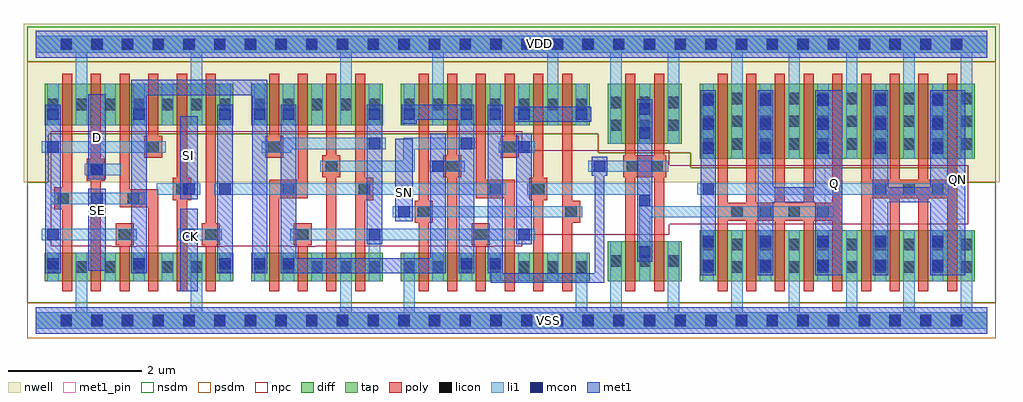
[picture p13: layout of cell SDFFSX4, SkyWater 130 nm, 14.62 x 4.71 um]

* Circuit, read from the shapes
.subckt SDFFSX4 CK D Q QN SE SI SN VDD VSS
XM1 VSS SE n1 VSS sky130_fd_pr__nfet_01v8 w=0.425 l=0.15
XM2 n2 D VSS VSS sky130_fd_pr__nfet_01v8 w=0.425 l=0.15
XM3 n3 n1 n2 VSS sky130_fd_pr__nfet_01v8 w=0.425 l=0.15
XM4 n4 SE n3 VSS sky130_fd_pr__nfet_01v8 w=0.425 l=0.15
XM5 VSS SI n4 VSS sky130_fd_pr__nfet_01v8 w=0.425 l=0.15
XM6 n5 CK VSS VSS sky130_fd_pr__nfet_01v8 w=0.425 l=0.15
XM7 n6 n5 n3 VSS sky130_fd_pr__nfet_01v8 w=0.425 l=0.15
XM8 n7 n8 n6 VSS sky130_fd_pr__nfet_01v8 w=0.425 l=0.15
XM9 VSS n9 n7 VSS sky130_fd_pr__nfet_01v8 w=0.425 l=0.15
XM10 n8 n5 VSS VSS sky130_fd_pr__nfet_01v8 w=0.425 l=0.15
XM11 n10 SN VSS VSS sky130_fd_pr__nfet_01v8 w=0.425 l=0.15
XM12 n9 n6 n10 VSS sky130_fd_pr__nfet_01v8 w=0.425 l=0.15
XM13 n11 n8 n9 VSS sky130_fd_pr__nfet_01v8 w=0.425 l=0.15
XM14 n12 n5 n11 VSS sky130_fd_pr__nfet_01v8 w=0.425 l=0.15
XM15 n13 n14 n12 VSS sky130_fd_pr__nfet_01v8 w=0.425 l=0.15
XM16 VSS SN n13 VSS sky130_fd_pr__nfet_01v8 w=0.425 l=0.15
XM17 n14 n11 VSS VSS sky130_fd_pr__nfet_01v8 w=0.6 l=0.15 m=2
XM18 VSS n14 n15 VSS sky130_fd_pr__nfet_01v8 w=0.76 l=0.15
XM19 Q n14 VSS VSS sky130_fd_pr__nfet_01v8 w=0.76 l=0.15 m=4
XM20 QN n15 VSS VSS sky130_fd_pr__nfet_01v8 w=0.76 l=0.15 m=4
XM21 VDD SE n1 VDD sky130_fd_pr__pfet_01v8 w=0.625 l=0.15
XM22 n16 D VDD VDD sky130_fd_pr__pfet_01v8 w=0.625 l=0.15
XM23 n3 SE n16 VDD sky130_fd_pr__pfet_01v8 w=0.625 l=0.15
XM24 n17 n1 n3 VDD sky130_fd_pr__pfet_01v8 w=0.625 l=0.15
XM25 VDD SI n17 VDD sky130_fd_pr__pfet_01v8 w=0.625 l=0.15
XM26 n5 CK VDD VDD sky130_fd_pr__pfet_01v8 w=0.625 l=0.15
XM27 n6 n8 n3 VDD sky130_fd_pr__pfet_01v8 w=0.625 l=0.15
XM28 n18 n5 n6 VDD sky130_fd_pr__pfet_01v8 w=0.625 l=0.15
XM29 VDD n9 n18 VDD sky130_fd_pr__pfet_01v8 w=0.625 l=0.15
XM30 n8 n5 VDD VDD sky130_fd_pr__pfet_01v8 w=0.625 l=0.15
XM31 VDD SN n9 VDD sky130_fd_pr__pfet_01v8 w=0.625 l=0.15
XM32 n9 n6 VDD VDD sky130_fd_pr__pfet_01v8 w=0.625 l=0.15
XM33 n11 n5 n9 VDD sky130_fd_pr__pfet_01v8 w=0.625 l=0.15
XM34 n19 n8 n11 VDD sky130_fd_pr__pfet_01v8 w=0.625 l=0.15
XM35 VDD n14 n19 VDD sky130_fd_pr__pfet_01v8 w=0.625 l=0.15
XM36 n19 SN VDD VDD sky130_fd_pr__pfet_01v8 w=0.625 l=0.15
XM37 n14 n11 VDD VDD sky130_fd_pr__pfet_01v8 w=0.905 l=0.15 m=2
XM38 VDD n14 n15 VDD sky130_fd_pr__pfet_01v8 w=1.13 l=0.15
XM39 Q n14 VDD VDD sky130_fd_pr__pfet_01v8 w=1.13 l=0.15 m=4
XM40 QN n15 VDD VDD sky130_fd_pr__pfet_01v8 w=1.13 l=0.15 m=4
.ends

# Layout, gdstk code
from math import pi, radians
import gdstk
lib = gdstk.Library(unit=1e-6, precision=1e-09)
def R(c, l, rs):  # rectangles x0, y0, x1, y1
    for r in rs: c.add(gdstk.rectangle(r[:2], r[2:], *l))
def A(c, l, x, y, w, h, nx, ny, dx, dy):  # array of equal rectangles
    R(c, l, [(x+i*dx, y+j*dy, x+i*dx+w, y+j*dy+h) for i in range(nx) for j in range(ny)])
def P(c, l, *ps):  # polygons
    for p in ps: c.add(gdstk.Polygon(p, *l))
nwell = (64, 20)
diff = (65, 20)
tap = (65, 44)
poly = (66, 20)
licon = (66, 44)
li1 = (67, 20)
mcon = (67, 44)
met1_pin = (68, 16)
met1 = (68, 20)
nsdm = (93, 44)
psdm = (94, 20)
npc = (95, 20)

pyl1con_c_cdns_758728262 = lib.new_cell('PYL1CON_C_CDNS_758728262102')
R(pyl1con_c_cdns_758728262, poly, [(-0.135,-0.165,0.135,0.165)])
R(pyl1con_c_cdns_758728262, licon, [(-0.085,-0.085,0.085,0.085)])
R(pyl1con_c_cdns_758728262, npc, [(-0.185,-0.185,0.185,0.185)])

l1m1_c_cdns_758728262101 = lib.new_cell('L1M1_C_CDNS_7587282621012')
R(l1m1_c_cdns_758728262101, li1, [(-0.085,-0.525,0.085,0.525)])
A(l1m1_c_cdns_758728262101, mcon, -0.085, -0.445, 0.17, 0.17, 1, 3, 0, 0.36)
R(l1m1_c_cdns_758728262101, met1, [(-0.115,-0.505,0.115,0.505)])

c_l1m1_c_cdns_758728262101 = lib.new_cell('L1M1_C_CDNS_758728262101')
R(c_l1m1_c_cdns_758728262101, li1, [(-0.085,-0.165,0.085,0.165)])
R(c_l1m1_c_cdns_758728262101, mcon, [(-0.085,-0.085,0.085,0.085)])
R(c_l1m1_c_cdns_758728262101, met1, [(-0.115,-0.145,0.115,0.145)])

l1m1_c_cdns_758728262104 = lib.new_cell('L1M1_C_CDNS_758728262104')
R(l1m1_c_cdns_758728262104, li1, [(-0.085,-0.345,0.085,0.345)])
R(l1m1_c_cdns_758728262104, mcon, [(-0.085,-0.265,0.085,-0.095), (-0.085,0.095,0.085,0.265)])
R(l1m1_c_cdns_758728262104, met1, [(-0.115,-0.325,0.115,0.325)])

l1m1_c_cdns_758728262100 = lib.new_cell('L1M1_C_CDNS_758728262100')
R(l1m1_c_cdns_758728262100, li1, [(-0.165,-0.085,0.165,0.085)])
R(l1m1_c_cdns_758728262100, mcon, [(-0.085,-0.085,0.085,0.085)])
R(l1m1_c_cdns_758728262100, met1, [(-0.115,-0.145,0.115,0.145)])

l1m1_c_cdns_758728262102 = lib.new_cell('L1M1_C_CDNS_7587282621021')
R(l1m1_c_cdns_758728262102, li1, [(-0.085,-0.165,0.085,0.165)])
R(l1m1_c_cdns_758728262102, mcon, [(-0.085,-0.085,0.085,0.085)])
R(l1m1_c_cdns_758728262102, met1, [(-0.145,-0.085,0.145,0.085)])

l1m1_c_cdns_758728262106 = lib.new_cell('L1M1_C_CDNS_758728262106')
R(l1m1_c_cdns_758728262106, li1, [(-0.085,-0.085,0.085,0.085)])
R(l1m1_c_cdns_758728262106, mcon, [(-0.085,-0.085,0.085,0.085)])
R(l1m1_c_cdns_758728262106, met1, [(-0.115,-0.145,0.115,0.145)])

licondiff_c_cdns_7587282 = lib.new_cell('LICONDIFF_C_CDNS_7587282621010')
R(licondiff_c_cdns_7587282, diff, [(-0.125,-0.145,0.125,0.145)])
R(licondiff_c_cdns_7587282, licon, [(-0.085,-0.085,0.085,0.085), (-0.085,-0.085,0.085,0.085)])

c_pyl1con_c_cdns_758728262 = lib.new_cell('PYL1CON_C_CDNS_7587282621017')
R(c_pyl1con_c_cdns_758728262, poly, [(-0.135,-0.29,0.135,0.29)])
R(c_pyl1con_c_cdns_758728262, licon, [(-0.085,-0.085,0.085,0.085)])
R(c_pyl1con_c_cdns_758728262, npc, [(-0.185,-0.185,0.185,0.185)])

c_l1m1_c_cdns_758728262101_ = lib.new_cell('L1M1_C_CDNS_7587282621019')
R(c_l1m1_c_cdns_758728262101_, li1, [(-0.125,-0.085,0.125,0.085)])
R(c_l1m1_c_cdns_758728262101_, mcon, [(-0.085,-0.085,0.085,0.085)])
R(c_l1m1_c_cdns_758728262101_, met1, [(-0.115,-0.145,0.115,0.145)])

c_pyl1con_c_cdns_758728262_ = lib.new_cell('PYL1CON_C_CDNS_7587282621020')
R(c_pyl1con_c_cdns_758728262_, poly, [(-0.135,-0.37,0.135,0.21)])
R(c_pyl1con_c_cdns_758728262_, licon, [(-0.085,-0.085,0.085,0.085)])
R(c_pyl1con_c_cdns_758728262_, npc, [(-0.185,-0.185,0.185,0.185)])

sdffsx4 = lib.new_cell('SDFFSX4')
R(sdffsx4, nwell, [(-0.18,2.07,14.445,4.445)])
R(sdffsx4, diff, [(0.135,0.59,2.965,1.015), (3.235,0.59,5.205,1.015), (5.475,0.59,8.305,1.015), (8.575,0.59,9.685,1.19), (9.955,0.59,14.075,1.35), (9.955,2.42,14.075,3.55), (8.575,2.645,9.685,3.55), (0.135,2.925,2.965,3.55), (3.235,2.925,5.205,3.55), (5.475,2.925,8.305,3.55)])
A(sdffsx4, poly, 1.26, 0.44, 0.15, 0.725, 3, 1, 2.67, 0)
A(sdffsx4, poly, 10.22, 0.44, 0.15, 3.26, 9, 1, 0.43, 0)
R(sdffsx4, poly, [(0.4,0.44,0.55,3.7), (0.83,0.44,0.98,3.7), (2.12,0.44,2.27,3.7), (2.55,0.44,2.7,3.7), (4.36,0.44,4.51,3.7), (4.79,0.44,4.94,3.7), (5.74,0.44,5.89,3.7), (6.17,0.44,6.32,3.7), (7.46,0.44,7.61,3.7), (7.89,0.44,8.04,3.7), (1.69,2.725,1.84,3.7), (3.5,2.725,3.65,3.7), (7.03,2.725,7.18,3.7)])
P(sdffsx4, poly, [(1.84,1.91),(1.41,1.91),(1.41,3.7),(1.26,3.7),(1.26,1.76),(1.69,1.76),(1.69,0.44),(1.84,0.44)],
  [(4.08,3.7),(3.93,3.7),(3.93,2.045),(3.5,2.045),(3.5,0.44),(3.65,0.44),(3.65,1.895),(4.08,1.895)],
  [(7.18,2.045),(6.75,2.045),(6.75,3.7),(6.6,3.7),(6.6,1.895),(7.03,1.895),(7.03,0.44),(7.18,0.44)],
  [(9.45,2.475),(9.42,2.475),(9.42,3.7),(9.27,3.7),(9.27,2.475),(8.99,2.475),(8.99,3.7),(8.84,3.7),(8.84,2.475),(8.81,2.475),(8.81,2.145),(8.84,2.145),(8.84,0.44),(8.99,0.44),(8.99,2.145),(9.27,2.145),(9.27,0.44),(9.42,0.44),(9.42,2.145),(9.45,2.145)])
A(sdffsx4, licon, 0.375, -0.085, 0.17, 0.17, 30, 2, 0.46, 4.14)
A(sdffsx4, licon, 0.605, 0.715, 0.17, 0.17, 3, 2, 0.86, 2.435)
A(sdffsx4, licon, 9.995, 0.715, 0.17, 0.17, 10, 2, 0.43, 0.34)
A(sdffsx4, licon, 8.615, 0.805, 0.17, 0.17, 3, 2, 0.43, 2.035)
A(sdffsx4, licon, 9.995, 2.56, 0.17, 0.17, 10, 3, 0.43, 0.34)
A(sdffsx4, licon, 5.515, 3.15, 0.17, 0.17, 7, 1, 0.43, 0)
A(sdffsx4, licon, 8.615, 3.18, 0.17, 0.17, 3, 1, 0.43, 0)
R(sdffsx4, licon, [(0.175,0.715,0.345,0.885), (2.755,0.715,2.925,0.885), (3.275,0.715,3.445,0.885), (3.705,0.715,3.875,0.885), (4.565,0.715,4.735,0.885), (4.995,0.715,5.165,0.885), (5.515,0.715,5.685,0.885), (6.375,0.715,6.545,0.885), (6.805,0.715,6.975,0.885), (8.095,0.715,8.265,0.885), (0.175,3.15,0.345,3.32), (2.755,3.15,2.925,3.32), (3.275,3.15,3.445,3.32), (3.705,3.15,3.875,3.32), (4.565,3.15,4.735,3.32), (4.995,3.15,5.165,3.32)])
A(sdffsx4, li1, 0.175, 0.59, 0.17, 0.425, 3, 1, 1.29, 0)
A(sdffsx4, li1, 9.995, 0.59, 0.17, 0.76, 5, 1, 0.86, 0)
A(sdffsx4, li1, 9.995, 2.42, 0.17, 1.13, 5, 1, 0.86, 0)
A(sdffsx4, li1, 0.175, 2.925, 0.17, 0.625, 3, 1, 1.29, 0)
A(sdffsx4, li1, 6.375, 2.925, 0.17, 0.625, 3, 1, 0.43, 0)
R(sdffsx4, li1, [(3.275,0.59,3.445,1.015), (3.705,0.59,3.875,1.015), (6.375,0.59,6.545,1.015), (6.805,0.59,6.975,1.015), (9.045,2.645,9.215,3.55), (3.275,2.925,3.445,3.55), (3.705,2.925,3.875,3.55), (4.995,2.925,5.165,3.55), (5.515,2.925,5.685,3.55), (8.095,2.925,8.265,3.55)])
P(sdffsx4, li1, [(5.08,2.735),(3.66,2.735),(3.66,2.685),(3.39,2.685),(3.39,2.515),(3.835,2.515),(3.835,2.565),(5.08,2.565)],
  [(7.485,1.375),(3.82,1.375),(3.82,1.205),(4.995,1.205),(4.995,0.59),(5.165,0.59),(5.165,1.205),(7.485,1.205)],
  [(11.965,1.715),(9.215,1.715),(9.215,2.055),(7.37,2.055),(7.37,1.885),(9.045,1.885),(9.045,0.59),(9.215,0.59),(9.215,1.545),(11.965,1.545)],
  [(14.265,4.265),(0,4.265),(0,4.015),(0.605,4.015),(0.605,2.925),(0.775,2.925),(0.775,4.015),(2.325,4.015),(2.325,2.925),(2.495,2.925),(2.495,4.015),(4.565,4.015),(4.565,2.925),(4.735,2.925),(4.735,4.015),(5.945,4.015),(5.945,2.925),(6.115,2.925),(6.115,4.015),(7.665,4.015),(7.665,2.925),(7.835,2.925),(7.835,4.015),(8.615,4.015),(8.615,2.645),(8.785,2.645),(8.785,4.015),(9.475,4.015),(9.475,2.645),(9.645,2.645),(9.645,4.015),(10.425,4.015),(10.425,2.42),(10.595,2.42),(10.595,4.015),(11.285,4.015),(11.285,2.42),(11.455,2.42),(11.455,4.015),(12.145,4.015),(12.145,2.42),(12.315,2.42),(12.315,4.015),(13.005,4.015),(13.005,2.42),(13.175,2.42),(13.175,4.015),(13.865,4.015),(13.865,2.42),(14.035,2.42),(14.035,4.015),(14.265,4.015)],
  [(14.265,0.125),(14.035,0.125),(14.035,1.35),(13.865,1.35),(13.865,0.125),(13.175,0.125),(13.175,1.35),(13.005,1.35),(13.005,0.125),(12.315,0.125),(12.315,1.35),(12.145,1.35),(12.145,0.125),(11.455,0.125),(11.455,1.35),(11.285,1.35),(11.285,0.125),(10.595,0.125),(10.595,1.35),(10.425,1.35),(10.425,0.125),(9.645,0.125),(9.645,1.19),(9.475,1.19),(9.475,0.125),(8.785,0.125),(8.785,1.19),(8.615,1.19),(8.615,0.125),(8.265,0.125),(8.265,1.015),(8.095,1.015),(8.095,0.125),(5.685,0.125),(5.685,1.015),(5.515,1.015),(5.515,0.125),(4.735,0.125),(4.735,1.015),(4.565,1.015),(4.565,0.125),(2.495,0.125),(2.495,1.015),(2.325,1.015),(2.325,0.125),(0.775,0.125),(0.775,1.015),(0.605,1.015),(0.605,0.125),(0,0.125),(0,-0.125),(14.265,-0.125)])
A(sdffsx4, mcon, 0.375, -0.085, 0.17, 0.17, 30, 2, 0.46, 4.14)
R(sdffsx4, met1_pin, [(2.17,0.435,2.43,1.675), (0.79,0.745,1.05,1.975), (11.83,1.465,12.09,2.705), (5.39,1.485,5.65,2.725), (13.67,1.515,13.93,2.755), (2.17,1.82,2.43,3.06), (0.79,2.15,1.05,3.39)])
P(sdffsx4, met1, [(8.52,2.31),(8.38,2.31),(8.38,0.705),(7.005,0.705),(7.005,3.235),(6.775,3.235),(6.775,0.705),(6.82,0.705),(6.82,0.565),(8.52,0.565)],
  [(12.09,3.45),(11.685,3.45),(11.685,2),(11.055,2),(11.055,3.45),(10.825,3.45),(10.825,0.68),(11.055,0.68),(11.055,1.77),(11.685,1.77),(11.685,0.68),(12.09,0.68)],
  [(13.93,3.45),(13.405,3.45),(13.405,2),(12.775,2),(12.775,3.45),(12.545,3.45),(12.545,0.68),(12.775,0.68),(12.775,1.77),(13.405,1.77),(13.405,0.675),(13.93,0.675)])
R(sdffsx4, nsdm, [(-0.125,3.875,14.39,4.405)])
P(sdffsx4, nsdm, [(14.39,2.07),(13.78,2.07),(13.78,2.29),(9.815,2.29),(9.815,2.515),(8.435,2.515),(8.435,2.795),(0.19,2.795),(0.19,2.07),(-0.125,2.07),(-0.125,0.265),(14.39,0.265)])
R(sdffsx4, psdm, [(-0.125,-0.265,14.39,0.265)])
P(sdffsx4, psdm, [(14.39,3.875),(-0.125,3.875),(-0.125,2.07),(0.19,2.07),(0.19,2.795),(8.435,2.795),(8.435,2.515),(9.815,2.515),(9.815,2.29),(13.78,2.29),(13.78,2.07),(14.39,2.07)])
P(sdffsx4, npc, [(13.98,2.325),(9.5,2.325),(9.5,2.55),(7.29,2.55),(7.29,2.835),(0.23,2.835),(0.23,1.11),(7.29,1.11),(7.29,1.285),(9.5,1.285),(9.5,1.445),(13.98,1.445)])
sdffsx4.add(gdstk.FlexPath([(5.905,2.31),(6.43,2.31)], 0.17, ends="flush", simple_path=True, layer=67, datatype=20))  # li1
sdffsx4.add(gdstk.FlexPath([(6.94,2.6),(7.485,2.6)], 0.17, ends="flush", simple_path=True, layer=67, datatype=20))  # li1
sdffsx4.add(gdstk.FlexPath([(0.095,1.29),(1.52,1.29)], 0.17, ends="flush", simple_path=True, layer=67, datatype=20))  # li1
sdffsx4.add(gdstk.FlexPath([(4.22,2.925),(4.22,3.55)], 0.17, ends="flush", simple_path=True, layer=67, datatype=20))  # li1
sdffsx4.add(gdstk.FlexPath([(4.22,0.59),(4.22,1.015)], 0.17, ends="flush", simple_path=True, layer=67, datatype=20))  # li1
sdffsx4.add(gdstk.FlexPath([(7.75,0.59),(7.75,1.015)], 0.17, ends="flush", simple_path=True, layer=67, datatype=20))  # li1
sdffsx4.add(gdstk.FlexPath([(7.32,0.59),(7.32,1.015)], 0.17, ends="flush", simple_path=True, layer=67, datatype=20))  # li1
sdffsx4.add(gdstk.FlexPath([(2.36,1.97),(1.815,1.97)], 0.17, ends="flush", simple_path=True, layer=67, datatype=20))  # li1
sdffsx4.add(gdstk.FlexPath([(4.27,2.31),(5.595,2.31),(5.595,2.65),(6.46,2.65)], 0.17, ends="flush", simple_path=True, layer=67, datatype=20))  # li1
sdffsx4.add(gdstk.FlexPath([(2.79,1.29),(2.245,1.29)], 0.17, ends="flush", simple_path=True, layer=67, datatype=20))  # li1
sdffsx4.add(gdstk.FlexPath([(2.675,1.97),(7.055,1.97)], 0.17, ends="flush", simple_path=True, layer=67, datatype=20))  # li1
sdffsx4.add(gdstk.FlexPath([(6.03,0.59),(6.03,1.015)], 0.17, ends="flush", simple_path=True, layer=67, datatype=20))  # li1
sdffsx4.add(gdstk.FlexPath([(8.285,2.31),(9.48,2.31)], 0.17, ends="flush", simple_path=True, layer=67, datatype=20))  # li1
sdffsx4.add(gdstk.FlexPath([(0.095,2.6),(1.95,2.6)], 0.17, ends="flush", simple_path=True, layer=67, datatype=20))  # li1
sdffsx4.add(gdstk.FlexPath([(1.12,2.925),(1.12,3.55)], 0.17, ends="flush", simple_path=True, layer=67, datatype=20))  # li1
sdffsx4.add(gdstk.FlexPath([(1.98,2.925),(1.98,3.55)], 0.17, ends="flush", simple_path=True, layer=67, datatype=20))  # li1
sdffsx4.add(gdstk.FlexPath([(5.435,1.63),(8.19,1.63)], 0.17, ends="flush", simple_path=True, layer=67, datatype=20))  # li1
sdffsx4.add(gdstk.FlexPath([(0.23,1.83),(1.635,1.83)], 0.17, ends="flush", simple_path=True, layer=67, datatype=20))  # li1
sdffsx4.add(gdstk.FlexPath([(10.08,1.97),(13.685,1.97)], 0.17, ends="flush", simple_path=True, layer=67, datatype=20))  # li1
sdffsx4.add(gdstk.FlexPath([(1.12,0.59),(1.12,1.015)], 0.17, ends="flush", simple_path=True, layer=67, datatype=20))  # li1
sdffsx4.add(gdstk.FlexPath([(1.98,0.59),(1.98,1.015)], 0.17, ends="flush", simple_path=True, layer=67, datatype=20))  # li1
sdffsx4.add(gdstk.FlexPath([(1.285,2.26),(0.74,2.26)], 0.17, ends="flush", simple_path=True, layer=67, datatype=20))  # li1
sdffsx4.add(gdstk.FlexPath([(7.32,1.145),(7.32,2.795)], 0.23, ends="flush", simple_path=True, layer=68, datatype=20))  # met1
sdffsx4.add(gdstk.FlexPath([(3.79,3.235),(3.79,0.82),(6.03,0.82),(6.03,2.795)], 0.23, ends="flush", simple_path=True, layer=68, datatype=20))  # met1
sdffsx4.add(gdstk.FlexPath([(1.55,0.705),(1.55,3.49),(3.36,3.49),(3.36,0.705)], 0.23, ends="flush", simple_path=True, layer=68, datatype=20))  # met1
sdffsx4.add(gdstk.FlexPath([(0.26,0.705),(0.26,3.235)], 0.23, ends="flush", simple_path=True, layer=68, datatype=20))  # met1
sdffsx4.add(gdstk.FlexPath([(5.08,1.145),(5.08,3.235)], 0.23, ends="flush", simple_path=True, layer=68, datatype=20))  # met1
sdffsx4.add(gdstk.FlexPath([(2.84,0.705),(2.84,3.235)], 0.23, ends="flush", simple_path=True, layer=68, datatype=20))  # met1
sdffsx4.add(gdstk.FlexPath([(5.52,1.485),(5.52,2.725)], 0.26, ends="flush", simple_path=True, layer=68, datatype=20))  # met1
sdffsx4.add(gdstk.FlexPath([(0,0),(14.265,0)], 0.4, ends="flush", simple_path=True, layer=68, datatype=20))  # met1
sdffsx4.add(gdstk.FlexPath([(2.3,0.435),(2.3,1.675)], 0.26, ends="flush", simple_path=True, layer=68, datatype=20))  # met1
sdffsx4.add(gdstk.FlexPath([(2.3,1.82),(2.3,3.06)], 0.26, ends="flush", simple_path=True, layer=68, datatype=20))  # met1
sdffsx4.add(gdstk.FlexPath([(0.92,2.115),(0.92,3.39)], 0.26, ends="flush", simple_path=True, layer=68, datatype=20))  # met1
sdffsx4.add(gdstk.FlexPath([(10.08,0.68),(10.08,3.45)], 0.23, ends="flush", simple_path=True, layer=68, datatype=20))  # met1
sdffsx4.add(gdstk.FlexPath([(9.13,0.88),(9.13,3.315)], 0.23, ends="flush", simple_path=True, layer=68, datatype=20))  # met1
sdffsx4.add(gdstk.FlexPath([(7.175,3.09),(8.325,3.09)], 0.23, ends="flush", simple_path=True, layer=68, datatype=20))  # met1
sdffsx4.add(gdstk.FlexPath([(0.92,0.745),(0.92,1.975)], 0.26, ends="flush", simple_path=True, layer=68, datatype=20))  # met1
sdffsx4.add(gdstk.FlexPath([(0,4.14),(14.265,4.14)], 0.4, ends="flush", simple_path=True, layer=68, datatype=20))  # met1
sdffsx4.add(gdstk.FlexPath([(6.46,0.705),(6.46,3.12),(5.485,3.12)], 0.23, ends="flush", simple_path=True, layer=68, datatype=20))  # met1
sdffsx4.add(gdstk.FlexPath([(0,4.14),(14.265,4.14)], 0.4, ends="flush", simple_path=True, layer=68, datatype=16))  # met1_pin
sdffsx4.add(gdstk.FlexPath([(0,0),(14.265,0)], 0.4, ends="flush", simple_path=True, layer=68, datatype=16))  # met1_pin
sdffsx4.add(gdstk.FlexPath([(0,0),(14.265,0)], 0.25, ends="flush", simple_path=True, layer=65, datatype=44))  # tap
sdffsx4.add(gdstk.FlexPath([(0,4.14),(14.265,4.14)], 0.25, ends="flush", simple_path=True, layer=65, datatype=44))  # tap
sdffsx4.add(gdstk.Reference(pyl1con_c_cdns_758728262, (6.245,2.31), rotation=pi))
sdffsx4.add(gdstk.Reference(pyl1con_c_cdns_758728262, (4.435,2.31)))
sdffsx4.add(gdstk.Reference(pyl1con_c_cdns_758728262, (5.815,1.63)))
sdffsx4.add(gdstk.Reference(pyl1con_c_cdns_758728262, (4.925,1.97), rotation=pi))
sdffsx4.add(gdstk.Reference(pyl1con_c_cdns_758728262, (2.625,1.29), x_reflection=True))
sdffsx4.add(gdstk.Reference(pyl1con_c_cdns_758728262, (2.195,1.97), x_reflection=True))
sdffsx4.add(gdstk.Reference(pyl1con_c_cdns_758728262, (1.765,2.6), rotation=pi))
sdffsx4.add(gdstk.Reference(pyl1con_c_cdns_758728262, (1.335,1.29), x_reflection=True))
sdffsx4.add(gdstk.Reference(pyl1con_c_cdns_758728262, (4.005,1.29), rotation=pi))
sdffsx4.add(gdstk.Reference(pyl1con_c_cdns_758728262, (3.575,2.6), x_reflection=True))
sdffsx4.add(gdstk.Reference(pyl1con_c_cdns_758728262, (7.105,2.6), rotation=pi))
sdffsx4.add(gdstk.Reference(pyl1con_c_cdns_758728262, (6.675,1.29), x_reflection=True))
sdffsx4.add(gdstk.Reference(pyl1con_c_cdns_758728262, (12.66,1.97), rotation=3*pi/2, x_reflection=True))
sdffsx4.add(gdstk.Reference(pyl1con_c_cdns_758728262, (13.09,1.97), rotation=3*pi/2, x_reflection=True))
sdffsx4.add(gdstk.Reference(pyl1con_c_cdns_758728262, (11.8,1.63), rotation=3*pi/2, x_reflection=True))
sdffsx4.add(gdstk.Reference(pyl1con_c_cdns_758728262, (11.37,1.63), rotation=3*pi/2, x_reflection=True))
sdffsx4.add(gdstk.Reference(pyl1con_c_cdns_758728262, (10.94,1.63), rotation=3*pi/2, x_reflection=True))
sdffsx4.add(gdstk.Reference(pyl1con_c_cdns_758728262, (8.025,1.63)))
sdffsx4.add(gdstk.Reference(pyl1con_c_cdns_758728262, (7.535,1.97)))
sdffsx4.add(gdstk.Reference(pyl1con_c_cdns_758728262, (13.52,1.97), rotation=3*pi/2, x_reflection=True))
sdffsx4.add(gdstk.Reference(pyl1con_c_cdns_758728262, (0.415,1.83)))
sdffsx4.add(gdstk.Reference(pyl1con_c_cdns_758728262, (9.315,2.31), rotation=pi, x_reflection=True))
sdffsx4.add(gdstk.Reference(pyl1con_c_cdns_758728262, (8.945,2.31), rotation=pi, x_reflection=True))
sdffsx4.add(gdstk.Reference(pyl1con_c_cdns_758728262, (0.905,2.26)))
sdffsx4.add(gdstk.Reference(pyl1con_c_cdns_758728262, (10.51,1.63), rotation=3*pi/2, x_reflection=True))
sdffsx4.add(gdstk.Reference(l1m1_c_cdns_758728262101, (12.66,2.945)))
sdffsx4.add(gdstk.Reference(l1m1_c_cdns_758728262101, (13.52,2.945)))
sdffsx4.add(gdstk.Reference(l1m1_c_cdns_758728262101, (10.08,2.945)))
sdffsx4.add(gdstk.Reference(l1m1_c_cdns_758728262101, (11.8,2.945)))
sdffsx4.add(gdstk.Reference(l1m1_c_cdns_758728262101, (10.94,2.945)))
sdffsx4.add(gdstk.Reference(c_l1m1_c_cdns_758728262101, (3.36,3.09)))
sdffsx4.add(gdstk.Reference(c_l1m1_c_cdns_758728262101, (3.36,0.85)))
sdffsx4.add(gdstk.Reference(c_l1m1_c_cdns_758728262101, (1.55,3.09)))
sdffsx4.add(gdstk.Reference(c_l1m1_c_cdns_758728262101, (1.55,0.85)))
sdffsx4.add(gdstk.Reference(c_l1m1_c_cdns_758728262101, (0.26,3.09)))
sdffsx4.add(gdstk.Reference(c_l1m1_c_cdns_758728262101, (0.26,0.85)))
sdffsx4.add(gdstk.Reference(c_l1m1_c_cdns_758728262101, (5.6,3.09)))
sdffsx4.add(gdstk.Reference(c_l1m1_c_cdns_758728262101, (5.08,3.09), rotation=pi, x_reflection=True))
sdffsx4.add(gdstk.Reference(c_l1m1_c_cdns_758728262101, (2.84,0.85)))
sdffsx4.add(gdstk.Reference(c_l1m1_c_cdns_758728262101, (2.84,3.09)))
sdffsx4.add(gdstk.Reference(c_l1m1_c_cdns_758728262101, (3.79,3.09)))
sdffsx4.add(gdstk.Reference(c_l1m1_c_cdns_758728262101, (3.79,0.85)))
sdffsx4.add(gdstk.Reference(c_l1m1_c_cdns_758728262101, (6.46,0.85)))
sdffsx4.add(gdstk.Reference(c_l1m1_c_cdns_758728262101, (6.46,3.09)))
sdffsx4.add(gdstk.Reference(c_l1m1_c_cdns_758728262101, (9.13,1.8)))
sdffsx4.add(gdstk.Reference(c_l1m1_c_cdns_758728262101, (6.89,3.09)))
sdffsx4.add(gdstk.Reference(c_l1m1_c_cdns_758728262101, (6.89,0.85)))
sdffsx4.add(gdstk.Reference(c_l1m1_c_cdns_758728262101, (9.13,1.025), rotation=pi, x_reflection=True))
sdffsx4.add(gdstk.Reference(l1m1_c_cdns_758728262104, (9.13,2.99), rotation=pi, x_reflection=True))
sdffsx4.add(gdstk.Reference(l1m1_c_cdns_758728262104, (12.66,1.005)))
sdffsx4.add(gdstk.Reference(l1m1_c_cdns_758728262104, (13.52,1.005)))
sdffsx4.add(gdstk.Reference(l1m1_c_cdns_758728262104, (11.8,1.005)))
sdffsx4.add(gdstk.Reference(l1m1_c_cdns_758728262104, (10.94,1.005)))
sdffsx4.add(gdstk.Reference(l1m1_c_cdns_758728262104, (10.08,1.005)))
sdffsx4.add(gdstk.Reference(l1m1_c_cdns_758728262100, (7.32,2.6)))
sdffsx4.add(gdstk.Reference(l1m1_c_cdns_758728262100, (7.32,1.29)))
sdffsx4.add(gdstk.Reference(l1m1_c_cdns_758728262100, (2.3,1.29), x_reflection=True))
sdffsx4.add(gdstk.Reference(l1m1_c_cdns_758728262100, (2.3,1.97), x_reflection=True))
sdffsx4.add(gdstk.Reference(l1m1_c_cdns_758728262100, (2.84,1.97)))
sdffsx4.add(gdstk.Reference(l1m1_c_cdns_758728262100, (5.08,2.65), rotation=pi, x_reflection=True))
sdffsx4.add(gdstk.Reference(l1m1_c_cdns_758728262100, (5.08,1.29), rotation=pi, x_reflection=True))
sdffsx4.add(gdstk.Reference(l1m1_c_cdns_758728262100, (5.52,1.63), x_reflection=True))
sdffsx4.add(gdstk.Reference(l1m1_c_cdns_758728262100, (0.92,2.26), x_reflection=True))
sdffsx4.add(gdstk.Reference(l1m1_c_cdns_758728262100, (10.08,1.97)))
sdffsx4.add(gdstk.Reference(l1m1_c_cdns_758728262100, (0.26,1.29)))
sdffsx4.add(gdstk.Reference(l1m1_c_cdns_758728262100, (0.26,2.6)))
sdffsx4.add(gdstk.Reference(l1m1_c_cdns_758728262100, (0.92,1.83), x_reflection=True))
sdffsx4.add(gdstk.Reference(l1m1_c_cdns_758728262102, (7.32,3.09)))
sdffsx4.add(gdstk.Reference(l1m1_c_cdns_758728262102, (8.18,3.09)))
sdffsx4.add(gdstk.Reference(l1m1_c_cdns_758728262106, (8.45,2.31)))
sdffsx4.add(gdstk.Reference(licondiff_c_cdns_7587282, (4.22,3.235)))
sdffsx4.add(gdstk.Reference(licondiff_c_cdns_7587282, (4.22,0.8)))
sdffsx4.add(gdstk.Reference(licondiff_c_cdns_7587282, (7.75,0.8)))
sdffsx4.add(gdstk.Reference(licondiff_c_cdns_7587282, (7.32,0.8)))
sdffsx4.add(gdstk.Reference(licondiff_c_cdns_7587282, (6.03,0.8), rotation=pi, x_reflection=True))
sdffsx4.add(gdstk.Reference(licondiff_c_cdns_7587282, (1.98,0.8)))
sdffsx4.add(gdstk.Reference(licondiff_c_cdns_7587282, (1.12,0.8)))
sdffsx4.add(gdstk.Reference(licondiff_c_cdns_7587282, (1.98,3.235)))
sdffsx4.add(gdstk.Reference(licondiff_c_cdns_7587282, (1.12,3.235)))
sdffsx4.add(gdstk.Reference(c_pyl1con_c_cdns_758728262, (3.79,1.97), rotation=pi/2, x_reflection=True))
sdffsx4.add(gdstk.Reference(c_pyl1con_c_cdns_758728262, (6.89,1.97), rotation=pi/2))
sdffsx4.add(gdstk.Reference(c_l1m1_c_cdns_758728262101_, (6.03,2.31)))
sdffsx4.add(gdstk.Reference(c_l1m1_c_cdns_758728262101_, (6.46,2.65), rotation=pi, x_reflection=True))
sdffsx4.add(gdstk.Reference(c_pyl1con_c_cdns_758728262_, (1.47,1.83), rotation=pi/2))
sdffsx4.add(gdstk.Label('Q', (11.975,2.06), layer=68, texttype=5))
sdffsx4.add(gdstk.Label('CK', (2.315,1.265), layer=68, texttype=5))
sdffsx4.add(gdstk.Label('SI', (2.295,2.47), layer=68, texttype=5))
sdffsx4.add(gdstk.Label('D', (0.935,2.745), layer=68, texttype=5))
sdffsx4.add(gdstk.Label('SN', (5.535,1.925), layer=68, texttype=5))
sdffsx4.add(gdstk.Label('QN', (13.815,2.11), layer=68, texttype=5))
sdffsx4.add(gdstk.Label('SE', (0.935,1.65), layer=68, texttype=5))
sdffsx4.add(gdstk.Label('VDD', (7.545,4.145), layer=68, texttype=5))
sdffsx4.add(gdstk.Label('VSS', (7.69,0.005), layer=68, texttype=5))

lib.write_gds('SDFFSX4.gds')
